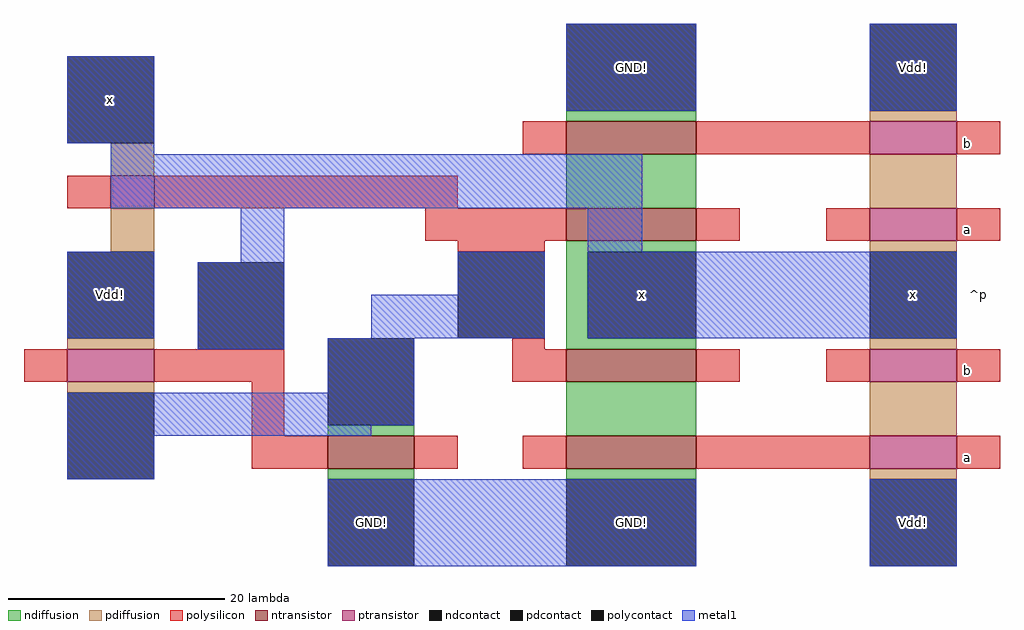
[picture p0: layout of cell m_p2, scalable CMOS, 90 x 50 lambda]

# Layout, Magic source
magic
tech scmos
<< ndiffusion >>
rect 38 19 50 20
rect 38 11 50 16
rect 38 7 50 8
rect 38 -1 40 7
rect 38 -2 50 -1
rect 16 -10 24 -9
rect 38 -10 50 -5
rect 16 -14 24 -13
rect 38 -14 50 -13
<< pdiffusion >>
rect 66 19 74 20
rect -4 14 0 17
rect 66 11 74 16
rect -4 7 0 11
rect -8 -2 0 -1
rect -8 -6 0 -5
rect 66 7 74 8
rect 66 -2 74 -1
rect 66 -10 74 -5
rect 66 -14 74 -13
<< ntransistor >>
rect 38 16 50 19
rect 38 8 50 11
rect 38 -5 50 -2
rect 16 -13 24 -10
rect 38 -13 50 -10
<< ptransistor >>
rect 66 16 74 19
rect -4 11 0 14
rect 66 8 74 11
rect -8 -5 0 -2
rect 66 -5 74 -2
rect 66 -13 74 -10
<< polysilicon >>
rect 34 16 38 19
rect 50 16 66 19
rect 74 16 78 19
rect -8 11 -4 14
rect 0 11 28 14
rect 25 8 38 11
rect 50 8 54 11
rect 62 8 66 11
rect 74 8 78 11
rect 28 7 36 8
rect -12 -5 -8 -2
rect 0 -5 12 -2
rect 9 -10 12 -5
rect 33 -2 36 -1
rect 33 -5 38 -2
rect 50 -5 54 -2
rect 62 -5 66 -2
rect 74 -5 78 -2
rect 9 -13 16 -10
rect 24 -13 28 -10
rect 34 -13 38 -10
rect 50 -13 66 -10
rect 74 -13 78 -10
<< ndcontact >>
rect 38 20 50 28
rect 16 -9 24 -1
rect 40 -1 50 7
rect 16 -22 24 -14
rect 38 -22 50 -14
<< pdcontact >>
rect -8 17 0 25
rect 66 20 74 28
rect -8 -1 0 7
rect -8 -14 0 -6
rect 66 -1 74 7
rect 66 -22 74 -14
<< polycontact >>
rect 4 -2 12 6
rect 28 -1 36 7
<< metal1 >>
rect -8 17 0 25
rect 38 20 50 28
rect 66 20 74 28
rect -4 16 0 17
rect -4 11 45 16
rect -8 -1 0 7
rect 8 6 12 11
rect 40 7 45 11
rect 4 -2 12 6
rect 28 3 36 7
rect 20 -1 36 3
rect 40 -1 74 7
rect 16 -6 24 -1
rect -8 -9 24 -6
rect -8 -10 20 -9
rect -8 -14 0 -10
rect 16 -22 50 -14
rect 66 -22 74 -14
<< labels >>
rlabel metal1 44 -18 44 -18 1 GND!
rlabel metal1 44 24 44 24 5 GND!
rlabel metal1 70 24 70 24 5 Vdd!
rlabel metal1 70 -18 70 -18 1 Vdd!
rlabel polysilicon 75 -12 75 -12 1 a
rlabel polysilicon 75 -4 75 -4 1 b
rlabel polysilicon 75 9 75 9 1 a
rlabel polysilicon 75 17 75 17 1 b
rlabel metal1 20 -18 20 -18 1 GND!
rlabel metal1 -4 3 -4 3 1 Vdd!
rlabel space 73 -23 79 29 3 ^p
rlabel metal1 70 3 70 3 1 x
rlabel metal1 45 3 45 3 1 x
rlabel metal1 -4 21 -4 21 1 x
<< end >>
